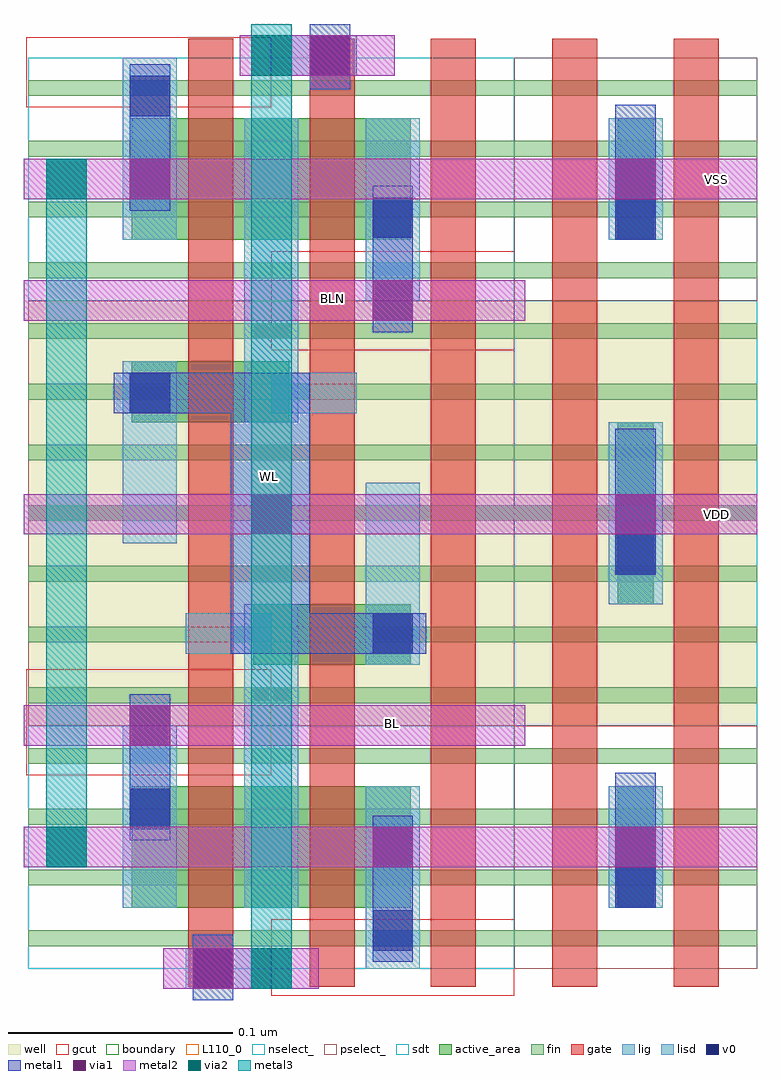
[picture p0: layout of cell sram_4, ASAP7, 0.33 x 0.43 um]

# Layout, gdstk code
import gdstk
lib = gdstk.Library(unit=1e-6, precision=2.5e-10)
def R(c, l, rs):  # rectangles x0, y0, x1, y1
    for r in rs: c.add(gdstk.rectangle(r[:2], r[2:], *l))
def A(c, l, x, y, w, h, nx, ny, dx, dy):  # array of equal rectangles
    R(c, l, [(x+i*dx, y+j*dy, x+i*dx+w, y+j*dy+h) for i in range(nx) for j in range(ny)])
def P(c, l, *ps):  # polygons
    for p in ps: c.add(gdstk.Polygon(p, *l))
well = (1, 0)
fin = (2, 0)
gate = (7, 0)
gcut = (10, 0)
active_area = (11, 0)
nselect_ = (12, 0)
pselect_ = (13, 0)
lig = (16, 0)
lisd = (17, 0)
v0 = (18, 0)
metal1 = (19, 0)
metal2 = (20, 0)
via1 = (21, 0)
via2 = (25, 0)
metal3 = (30, 0)
sdt = (88, 0)
boundary = (100, 0)
L110_0 = (110, 0)

sram_3 = lib.new_cell('sram_3')
R(sram_3, well, [(0.788,0.636,1.004,0.825)])
A(sram_3, fin, 0.788, 0.538, 0.216, 0.007, 1, 15, 0, 0.027)
A(sram_3, gate, 0.859, 0.52, 0.02, 0.4215, 3, 1, 0.054, 0)
R(sram_3, gcut, [(0.896,0.516,1.004,0.55), (0.787,0.614,0.896,0.661), (0.896,0.803,1.004,0.847), (0.787,0.911,0.896,0.942)])
R(sram_3, active_area, [(0.834,0.555,0.958,0.609), (0.888,0.663,0.958,0.69), (0.834,0.771,0.904,0.798), (0.834,0.852,0.958,0.906)])
R(sram_3, nselect_, [(0.788,0.528,1.004,0.636), (0.788,0.825,1.004,0.933)])
R(sram_3, pselect_, [(0.788,0.636,1.004,0.825)])
R(sram_3, lig, [(0.858,0.519,0.896,0.537), (0.858,0.668,0.896,0.686), (0.896,0.775,0.934,0.793), (0.896,0.925,0.934,0.943)])
R(sram_3, lisd, [(0.938,0.528,0.962,0.609), (0.83,0.555,0.854,0.636), (0.884,0.555,0.908,0.69), (0.938,0.663,0.962,0.744), (0.83,0.717,0.854,0.798), (0.884,0.771,0.908,0.906), (0.938,0.825,0.962,0.906), (0.83,0.852,0.854,0.933)])
R(sram_3, v0, [(0.861,0.519,0.879,0.537), (0.941,0.536,0.959,0.554), (0.833,0.59,0.851,0.608), (0.941,0.668,0.959,0.686), (0.833,0.775,0.851,0.793), (0.941,0.853,0.959,0.871), (0.833,0.907,0.851,0.925), (0.913,0.925,0.931,0.943)])
R(sram_3, metal1, [(0.861,0.514,0.879,0.543), (0.941,0.531,0.959,0.596), (0.833,0.585,0.851,0.65), (0.941,0.811,0.959,0.876), (0.833,0.865,0.851,0.93), (0.913,0.919,0.931,0.948)])
P(sram_3, metal1, [(0.826,0.793),(0.826,0.775),(0.878,0.775),(0.878,0.668),(0.965,0.668),(0.965,0.686),(0.913,0.686),(0.913,0.793)])
R(sram_3, metal2, [(0.848,0.519,0.917,0.537), (0.786,0.573,1.009,0.591), (0.786,0.627,1.009,0.645), (0.786,0.721,1.009,0.739), (0.786,0.816,1.009,0.834), (0.786,0.87,1.009,0.888), (0.882,0.925,0.951,0.943)])
R(sram_3, via1, [(0.861,0.519,0.879,0.537), (0.941,0.573,0.959,0.591), (0.833,0.627,0.851,0.645), (0.887,0.721,0.905,0.739), (0.941,0.816,0.959,0.834), (0.833,0.87,0.851,0.888), (0.913,0.925,0.931,0.943)])
R(sram_3, via2, [(0.887,0.519,0.905,0.537), (0.796,0.573,0.814,0.591), (0.796,0.87,0.814,0.888), (0.887,0.925,0.905,0.943)])
R(sram_3, metal3, [(0.887,0.519,0.905,0.948), (0.796,0.573,0.814,0.888)])
R(sram_3, sdt, [(0.938,0.528,0.962,0.609), (0.83,0.555,0.854,0.636), (0.884,0.555,0.908,0.69), (0.938,0.663,0.962,0.744), (0.83,0.717,0.854,0.798), (0.884,0.771,0.908,0.906), (0.938,0.825,0.962,0.906), (0.83,0.852,0.854,0.933)])
R(sram_3, boundary, [(0.788,0.528,1.004,0.933)])
R(sram_3, L110_0, [(0.788,0.528,1.004,0.933)])
sram_3.add(gdstk.Label('VSS', (0.994,0.879), layer=20, texttype=251))
sram_3.add(gdstk.Label('BLN', (0.996,0.825), layer=20, texttype=251))
sram_3.add(gdstk.Label('BL', (0.997,0.636), layer=20, texttype=251))
sram_3.add(gdstk.Label('VDD', (0.997,0.73), layer=20, texttype=251))
sram_3.add(gdstk.Label('WL', (0.897,0.582), layer=30, texttype=251))

tap_cell_sram = lib.new_cell('tap_cell_sram')
R(tap_cell_sram, well, [(1.013,0.483,1.121,0.672)])
A(tap_cell_sram, fin, 1.013, 0.385, 0.108, 0.007, 1, 15, 0, 0.027)
R(tap_cell_sram, gate, [(1.03,0.367,1.05,0.7885), (1.084,0.367,1.104,0.7885)])
R(tap_cell_sram, active_area, [(1.059,0.402,1.075,0.456), (1.059,0.537,1.075,0.618), (1.059,0.699,1.075,0.753)])
R(tap_cell_sram, nselect_, [(1.013,0.483,1.121,0.672)])
R(tap_cell_sram, pselect_, [(1.013,0.375,1.121,0.483), (1.013,0.672,1.121,0.78)])
R(tap_cell_sram, lisd, [(1.055,0.402,1.079,0.456), (1.055,0.537,1.079,0.618), (1.055,0.699,1.079,0.753)])
R(tap_cell_sram, v0, [(1.058,0.402,1.076,0.42), (1.058,0.55,1.076,0.568), (1.058,0.699,1.076,0.717)])
R(tap_cell_sram, metal1, [(1.058,0.402,1.076,0.462), (1.058,0.55,1.076,0.615), (1.058,0.699,1.076,0.759)])
R(tap_cell_sram, metal2, [(1.013,0.42,1.121,0.438), (1.013,0.568,1.121,0.586), (1.013,0.717,1.121,0.735)])
R(tap_cell_sram, via1, [(1.058,0.42,1.076,0.438), (1.058,0.568,1.076,0.586), (1.058,0.717,1.076,0.735)])
R(tap_cell_sram, sdt, [(1.055,0.402,1.079,0.456), (1.055,0.537,1.079,0.618), (1.055,0.699,1.079,0.753)])
R(tap_cell_sram, boundary, [(1.013,0.375,1.121,0.78)])

sram_4 = lib.new_cell('sram_4')
sram_4.add(gdstk.Reference(sram_3, (0.926,0.341)))
sram_4.add(gdstk.Reference(tap_cell_sram, (0.917,0.494)))
sram_4.add(gdstk.Label('BLN', (1.849,1.167), layer=20, texttype=251))
sram_4.add(gdstk.Label('BL', (1.876,0.978), layer=20, texttype=251))
sram_4.add(gdstk.Label('VDD', (2.02,1.071), layer=20, texttype=251))
sram_4.add(gdstk.Label('VSS', (2.02,1.22), layer=20, texttype=251))
sram_4.add(gdstk.Label('WL', (1.821,1.088), layer=30, texttype=251))

lib.write_gds('sram_4.gds')
